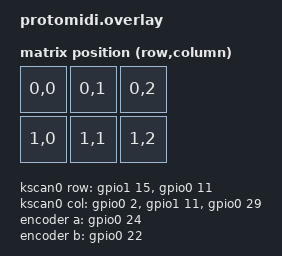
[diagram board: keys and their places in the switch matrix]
#include <dt-bindings/gpio/gpio.h>
#include <zephyr/dt-bindings/pinctrl/nrf-pinctrl.h>
#include <dt-bindings/zmk/matrix_transform.h>

/*
 * Final Rev A matrix pinout. Keep physical wiring choices in this shield
 * overlay so future board revisions can change pins without touching behavior.
 */

/ {
    chosen {
        zephyr,display = &oled;
        zmk,kscan = &kscan0;
        zmk,physical-layout = &physical_layout0;
    };

    kscan0: kscan {
        compatible = "zmk,kscan-gpio-matrix";
        diode-direction = "col2row";
        debounce-press-ms = <0>;
        debounce-release-ms = <5>;
        wakeup-source;

        col-gpios
            = <&gpio0 2 GPIO_ACTIVE_HIGH>
            , <&gpio1 11 GPIO_ACTIVE_HIGH>
            , <&gpio0 29 GPIO_ACTIVE_HIGH>
            ;

        row-gpios
            = <&gpio1 15 (GPIO_ACTIVE_HIGH | GPIO_PULL_DOWN)>
            , <&gpio0 11 (GPIO_ACTIVE_HIGH | GPIO_PULL_DOWN)>
            ;
    };

    default_transform: keymap_transform {
        compatible = "zmk,matrix-transform";
        columns = <3>;
        rows = <2>;
        map = <
        //  PB86-1   PB86-2   ENC_PUSH
            RC(0,0)  RC(0,1)  RC(0,2)
        //  PB86-3   PB86-4   unused
            RC(1,0)  RC(1,1)  RC(1,2)
        >;
    };

    physical_layout0: physical_layout_0 {
        compatible = "zmk,physical-layout";
        display-name = "Default";
        kscan = <&kscan0>;
        transform = <&default_transform>;
    };

    encoder: encoder {
        compatible = "alps,ec11";
        a-gpios = <&gpio0 24 (GPIO_ACTIVE_HIGH | GPIO_PULL_UP)>;
        b-gpios = <&gpio0 22 (GPIO_ACTIVE_HIGH | GPIO_PULL_UP)>;
        steps = <80>;
        status = "okay";
    };

    sensors: sensors {
        compatible = "zmk,keymap-sensors";
        sensors = <&encoder>;
        triggers-per-rotation = <20>;
    };
};

&pinctrl {
    /*
     * nice_nano_v2 defaults I2C0 to P0.17/P0.20. Override I2C0 to the
     * final OLED pins for this build.
     */
    i2c0_default: i2c0_default {
        group1 {
            psels = <NRF_PSEL(TWIM_SDA, 1, 6)>,
                <NRF_PSEL(TWIM_SCL, 1, 4)>;
        };
    };

    i2c0_sleep: i2c0_sleep {
        group1 {
            psels = <NRF_PSEL(TWIM_SDA, 1, 6)>,
                <NRF_PSEL(TWIM_SCL, 1, 4)>;
            low-power-enable;
        };
    };
};

&pro_micro_i2c {
    status = "okay";

    oled: ssd1306@3c {
        compatible = "solomon,ssd1306fb";
        reg = <0x3c>;
        width = <128>;
        height = <64>;
        segment-offset = <0>;
        page-offset = <0>;
        display-offset = <0>;
        multiplex-ratio = <63>;
        segment-remap;
        com-invdir;
        prechargep = <0x22>;
    };
};
